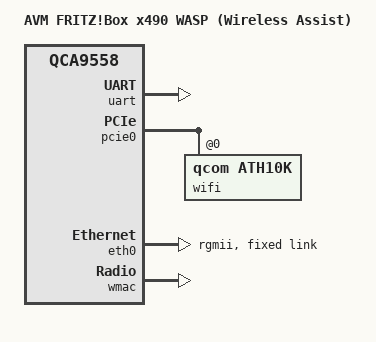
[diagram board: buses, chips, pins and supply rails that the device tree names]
// SPDX-License-Identifier: GPL-2.0-or-later OR MIT
/dts-v1/;

#include <dt-bindings/gpio/gpio.h>
#include <dt-bindings/input/input.h>

#include "qca955x.dtsi"

/ {
	compatible = "avm,fritzx490-wasp", "qca,qca9558";
	model = "AVM FRITZ!Box x490 WASP (Wireless Assist)";

	chosen {
		bootargs = "console=ttyS0,115200n8";
	};
};

&uart {
	status = "okay";
};

&pcie0 {
	status = "okay";

	wifi@0,0 {
		compatible = "qcom,ath10k";
		reg = <0 0 0 0 0>;
		qca,no-eeprom;
	};
};

&eth0 {
	status = "okay";

	phy-mode = "rgmii";

	pll-data = <0xa6000000 0x00000101 0x00001616>;
	fixed-link {
		speed = <1000>;
		full-duplex;
	};
};

&wmac {
	status = "okay";

	qca,no-eeprom;
};

&gpio {
	status = "okay";
};
